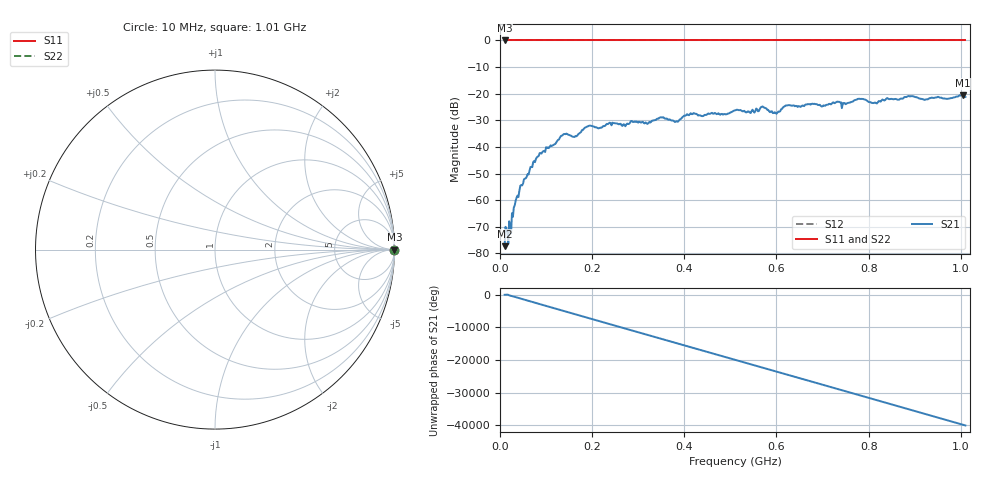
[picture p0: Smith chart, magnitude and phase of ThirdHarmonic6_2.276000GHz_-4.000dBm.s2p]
! 8/17/2025 2:54:52 AM
! C:\ANRITSUVNA\TEMP\TEMP.S2P
! CHANNEL.1
! TR.MEASUREMENT
! RAW.DATA
! RF.CORRECTION.OFF
! AVERAGING.OFF
! IF.BANDWIDTH: 5KHZ
! SWEEPTYPE:  FREQ.SWEEP(Linear)
! Reference Plane Port Info
! PORT:  PORT1  PORT2
! DISTANCE:  0  m  0  m
! TIME:  0  s  0  s
! PHASE.OFFSET:  0  deg.  0  deg.
! LOSS:  0  dB  0  dB
! REF.LOSS:  0  dB  0  dB
! REF.FREQ:  0  Hz  0  Hz
! Power Info
! POWER:  -20  dBm  -20  dBm
! EFF.POWER:  -20  dBm  -20  dBm
! SOURCE.ATTEN:  0  dB  0  dB
! TEST.ATTEN:  0  dB  0  dB
# GHZ S RI R 50.0
! FREQ.GHZ  S11RE  S11IM  S21RE  S21IM  S12RE  S12IM  S22RE  S22IM
!; PortSelection: Port_12
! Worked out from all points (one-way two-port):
!   501 points, 10 MHz to 1.01 GHz, reference 50 ohm
!   highest |S21| = -20.60 dB at 1.004 GHz (marker M1); lowest = -77.3 dB at 10 MHz (marker M2)
!   lowest |S11| = 0.0 dB at 10 MHz (marker M3)
!   |S11| at or under -10 dB: nowhere
!   |S22| runs from 0.0 to 0.0 dB; largest |S21 - S12| = 1.1
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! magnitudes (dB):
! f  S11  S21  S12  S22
! 10 MHz  0.0  -77.3  0.0  0.0
! 16 MHz  0.0  -71.0  0.0  0.0
! 20 MHz  0.0  -68.0  0.0  0.0
! 34 MHz  0.0  -60.2  0.0  0.0
! 48 MHz  0.0  -54.5  0.0  0.0
! 82 MHz  0.0  -43.6  0.0  0.0
! 136 MHz  0.0  -35.6  0.0  0.0
! 162 MHz  0.0  -36.3  0.0  0.0
! 178 MHz  0.0  -33.7  0.0  0.0
! 194 MHz  0.0  -32.0  0.0  0.0
! 318 MHz  0.0  -31.1  0.0  0.0
! 344 MHz  0.0  -29.4  0.0  0.0
! 382 MHz  0.0  -30.4  0.0  0.0
! 416 MHz  0.0  -27.7  0.0  0.0
! 510 MHz  0.0  -26.3  0.0  0.0
! 570 MHz  0.0  -24.8  0.0  0.0
! 596 MHz  0.0  -26.9  0.0  0.0
! 624 MHz  0.0  -24.4  0.0  0.0
! 678 MHz  0.0  -23.8  0.0  0.0
! 844 MHz  0.0  -22.1  0.0  0.0
! 1.004 GHz  0.0  -20.6  0.0  0.0
! 1.01 GHz  0.0  -21.2  0.0  0.0
